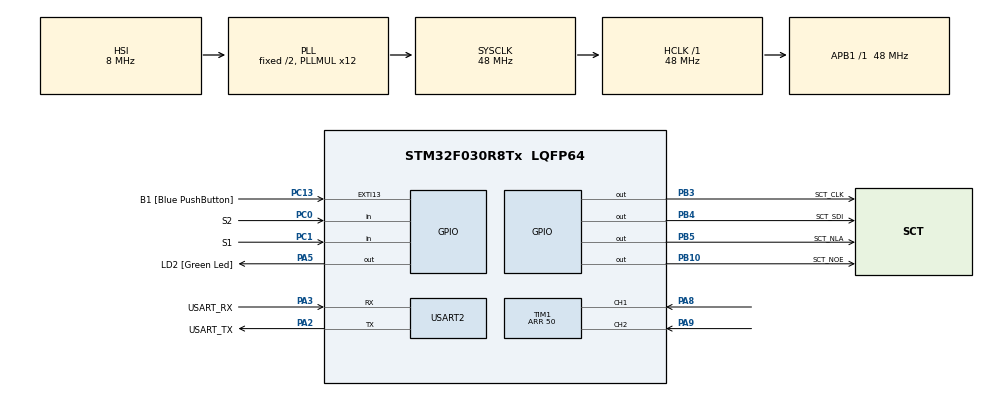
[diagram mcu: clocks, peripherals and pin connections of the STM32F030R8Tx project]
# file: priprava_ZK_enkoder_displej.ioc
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Mcu.Family=STM32F0
Mcu.Name=STM32F030R8Tx
Mcu.Package=LQFP64
PA13.GPIO_Label=TMS
PA13.Mode=Serial_Wire
PA13.Signal=SYS_SWDIO
PA14.GPIO_Label=TCK
PA14.Mode=Serial_Wire
PA14.Signal=SYS_SWCLK
PA2.GPIO_Label=USART_TX
PA2.GPIO_Mode=GPIO_MODE_AF_PP
PA2.GPIO_PuPd=GPIO_NOPULL
PA2.GPIO_Speed=GPIO_SPEED_FREQ_LOW
PA2.Mode=Asynchronous
PA2.Signal=USART2_TX
PA3.GPIO_Label=USART_RX
PA3.GPIO_Mode=GPIO_MODE_AF_PP
PA3.GPIO_PuPd=GPIO_NOPULL
PA3.GPIO_Speed=GPIO_SPEED_FREQ_LOW
PA3.Mode=Asynchronous
PA3.Signal=USART2_RX
PA5.GPIO_Label=LD2 [Green Led]
PA5.GPIO_Mode=GPIO_MODE_OUTPUT_PP
PA5.GPIO_PuPd=GPIO_NOPULL
PA5.GPIO_Speed=GPIO_SPEED_FREQ_LOW
PA5.Signal=GPIO_Output
PA8.Signal=S_TIM1_CH1
PA9.Signal=S_TIM1_CH2
PB10.GPIO_Label=SCT_NOE
PB10.Signal=GPIO_Output
PB3.GPIO_Label=SCT_CLK
PB3.Signal=GPIO_Output
PB4.GPIO_Label=SCT_SDI
PB4.Signal=GPIO_Output
PB5.GPIO_Label=SCT_NLA
PB5.Signal=GPIO_Output
PC0.GPIO_Label=S2
PC0.Signal=GPIO_Input
PC1.GPIO_Label=S1
PC1.Signal=GPIO_Input
PC13.GPIO_Label=B1 [Blue PushButton]
PC13.GPIO_ModeDefaultEXTI=GPIO_MODE_IT_FALLING
PC13.Signal=GPXTI13
PC14-OSC32_IN.Mode=LSE-External-Oscillator
PC14-OSC32_IN.Signal=RCC_OSC32_IN
PC15-OSC32_OUT.Mode=LSE-External-Oscillator
PC15-OSC32_OUT.Signal=RCC_OSC32_OUT
PF0-OSC_IN.Mode=HSE-External-Clock-Source
PF0-OSC_IN.Signal=RCC_OSC_IN
PF1-OSC_OUT.Signal=RCC_OSC_OUT
ProjectManager.HeapSize=0x200
ProjectManager.StackSize=0x400
ProjectManager.TargetToolchain=STM32CubeIDE
RCC.AHBFreq_Value=48000000
RCC.APB1Freq_Value=48000000
RCC.APB1TimFreq_Value=48000000
RCC.HCLKFreq_Value=48000000
RCC.PLLMUL=RCC_PLL_MUL12
RCC.SYSCLKFreq_VALUE=48000000
RCC.SYSCLKSource=RCC_SYSCLKSOURCE_PLLCLK
SH.S_TIM1_CH1.0=TIM1_CH1,Encoder_Interface
SH.S_TIM1_CH2.0=TIM1_CH2,Encoder_Interface
TIM1.IC1Polarity=TIM_ICPOLARITY_FALLING
TIM1.Period=50
USART2.VirtualMode-Asynchronous=VM_ASYNC
board=NUCLEO-F030R8

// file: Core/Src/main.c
/* USER CODE BEGIN Header */
/**
  ******************************************************************************
  * @file           : main.c
  * @brief          : Main program body
  ******************************************************************************
  * @attention
  *
  * <h2><center>&copy; Copyright (c) 2021 STMicroelectronics.
  * All rights reserved.</center></h2>
  *
  * This software component is licensed by ST under BSD 3-Clause license,
  * the "License"; You may not use this file except in compliance with the
  * License. You may obtain a copy of the License at:
  *                        opensource.org/licenses/BSD-3-Clause
  *
  ******************************************************************************
  */
/* USER CODE END Header */
#include "main.h"

/* USER CODE BEGIN Includes */
#include "sct.h"
/* USER CODE END Includes */

/* USER CODE BEGIN PD */
#define BTN_PERIOD 5
/* USER CODE END PD */

TIM_HandleTypeDef htim1;

UART_HandleTypeDef huart2;

void SystemClock_Config(void);
static void MX_GPIO_Init(void);
static void MX_USART2_UART_Init(void);
static void MX_TIM1_Init(void);

int main(void)
{

  /* MCU Configuration--------------------------------------------------------*/

  /* Reset of all peripherals, Initializes the Flash interface and the Systick. */
  HAL_Init();

  /* Configure the system clock */
  SystemClock_Config();

  /* Initialize all configured peripherals */
  MX_GPIO_Init();
  MX_USART2_UART_Init();
  MX_TIM1_Init();
  /* USER CODE BEGIN 2 */
  sct_init();
  HAL_TIM_Encoder_Start(&htim1, htim1.Channel); // spustim TIM1 jako citac v rezimu ncoderu

  //sct_led(0x000F00FF);		// nakresli to nejaky znak na chvilku na displeji a potom to prejde do nekoncecne smycky
  //HAL_Delay(2000);			//short pause

  /* USER CODE END 2 */

  /* Infinite loop */
  while (1)
  {

    /* USER CODE BEGIN 3 */
	  	  static uint32_t lastBTN = 0;
	  	  static uint16_t S1samp = 0xFFFF;
	  	  static uint16_t S2samp = 0xFFFF;
	  	  static uint8_t S1 = 0;
	  	  static uint8_t S2 = 0;
	  	  static uint32_t flag=0;

	  	  if(HAL_GetTick()>lastBTN+BTN_PERIOD){
	  		  lastBTN = HAL_GetTick();
	  		  S1samp = (S1samp<<1)+HAL_GPIO_ReadPin(S1_GPIO_Port, S1_Pin);
	  		  S2samp = (S2samp<<1)+HAL_GPIO_ReadPin(S2_GPIO_Port, S2_Pin);

	  	  if(S1samp == 0x8000) S1 = 1;
	  	  if(S2samp == 0x8000) S2 = 1;
	  	  }

	  if((S2 == 1)&(flag == 0)) {
	  			S2 = 0;
	  			sct_led(0x01000000);
	  			flag=1;
	  			__HAL_TIM_GET_COUNTER(&htim1) = 14;
	  			}
	  if((S1 == 1)&(flag == 1)) {
	 	  		S1 = 0;
	 	  		sct_led(0x00000000);
	 	  		flag=0;
	 	  		__HAL_TIM_GET_COUNTER(&htim1) = 12;
	 	  		}

	  if((S2 == 1)&(flag == 1)) {
	  	  		S2 = 0;
	  	  		sct_led(0x03000000);
	  	  		flag=2;
	  	  		__HAL_TIM_GET_COUNTER(&htim1) = 16;
	  	  		}
	  if((S1 == 1)&(flag == 2)) {
	  	 	  	S1 = 0;
	  	 	  	sct_led(0x01000000);
	  	 	  	flag=1;
	  	 	  	__HAL_TIM_GET_COUNTER(&htim1) = 14;
	  	 	  	}

	  if((S2 == 1)&(flag == 2)) {
	  	  	  	S2 = 0;
	  	  	  	sct_led(0x07000000);
	  	  	  	flag=3;
	  	  	  	__HAL_TIM_GET_COUNTER(&htim1) = 18;
	  	  	  	}
	  if((S1 == 1)&(flag == 3)) {
	  	  	 	  	S1 = 0;
	  	  	 	  	sct_led(0x03000000);
	  	  	 	  	flag=1;
	  	  	 	  	__HAL_TIM_GET_COUNTER(&htim1) = 16;
	  	  	 	  	}

	  if((S2 == 1)&(flag == 3)) {
	  	  	  	S2 = 0;
	  	  	  	sct_led(0x0F000000);
	  	  	  	flag=4;
	  	  	  	__HAL_TIM_GET_COUNTER(&htim1) = 20;
	  	  	  	}
	  if((S2 == 1)&(flag == 4)) {
	  	  	  	S2 = 0;
	  	  	  	sct_led(0x0F800000);
	  	  	  	flag=5;
	  	  	  	__HAL_TIM_GET_COUNTER(&htim1) = 22;
	  	  	  	}
	  if((S2 == 1)&(flag == 5)) {
	  	  	  	S2 = 0;
	  	  	  	sct_led(0x0FC00000);
	  	  	  	flag=6;
	  	  	  	__HAL_TIM_GET_COUNTER(&htim1) = 24;
	  	  	  	}
	  if((S2 == 1)&(flag == 6)) {
	  	  	  	S2 = 0;
	  	  	  	sct_led(0x0FE00000);
	  	  	  	flag=7;
	  	  	  	__HAL_TIM_GET_COUNTER(&htim1) = 26;
	  	  	  	}
	  if((S2 == 1)&(flag == 7)) {
	  	  	  	S2 = 0;
	  	  	  	sct_led(0x0FF00000);
	  	  	  	flag=8;
	  	  	  	__HAL_TIM_GET_COUNTER(&htim1) = 28;
	  	  	  	}

	  if(__HAL_TIM_GET_COUNTER(&htim1) < 13) {
	  		  	  sct_led(0x00000000);
	  		  	  flag=0;
	  	  }
	  if(__HAL_TIM_GET_COUNTER(&htim1) == 14) {
	  	  		  sct_led(0x01000000);
	  	  		  flag=1;
	  	  }
	  if(__HAL_TIM_GET_COUNTER(&htim1) == 16) {
	  	  		  sct_led(0x03000000);
	  	  		  flag=2;
	  	  }
	  if(__HAL_TIM_GET_COUNTER(&htim1) == 18) {
	  	  		  sct_led(0x07000000);
	  	  		  flag=3;
	  	  }
	  if(__HAL_TIM_GET_COUNTER(&htim1) == 20) {
	  	  		  sct_led(0x0F000000);
	  	  		  flag=4;
	  	  }
	  if(__HAL_TIM_GET_COUNTER(&htim1) == 22) {
	  	  		  sct_led(0x0F800000);
	  	  		  flag=5;
	  	  }
	  if(__HAL_TIM_GET_COUNTER(&htim1) == 24) {
	  	  	  	  sct_led(0x0FC00000);
	  	  	  	  flag=6;
	  	  }
	  if(__HAL_TIM_GET_COUNTER(&htim1) == 26) {
	  	  	  	  sct_led(0x0FE00000);
	  	  	  	  flag=7;
	  	  }
	  if(__HAL_TIM_GET_COUNTER(&htim1) > 27) {
	  	  		  sct_led(0x0FF00000);
	  	  		  flag=8;
	  	  }
	  HAL_Delay(50);
  }

  /* USER CODE END 3 */
}

void SystemClock_Config(void)
{
  RCC_OscInitTypeDef RCC_OscInitStruct = {0};
  RCC_ClkInitTypeDef RCC_ClkInitStruct = {0};

  /** Initializes the RCC Oscillators according to the specified parameters
  * in the RCC_OscInitTypeDef structure.
  */
  RCC_OscInitStruct.OscillatorType = RCC_OSCILLATORTYPE_HSI;
  RCC_OscInitStruct.HSIState = RCC_HSI_ON;
  RCC_OscInitStruct.HSICalibrationValue = RCC_HSICALIBRATION_DEFAULT;
  RCC_OscInitStruct.PLL.PLLState = RCC_PLL_ON;
  RCC_OscInitStruct.PLL.PLLSource = RCC_PLLSOURCE_HSI;
  RCC_OscInitStruct.PLL.PLLMUL = RCC_PLL_MUL12;
  RCC_OscInitStruct.PLL.PREDIV = RCC_PREDIV_DIV1;
  if (HAL_RCC_OscConfig(&RCC_OscInitStruct) != HAL_OK)
  {
    Error_Handler();
  }
  /** Initializes the CPU, AHB and APB buses clocks
  */
  RCC_ClkInitStruct.ClockType = RCC_CLOCKTYPE_HCLK|RCC_CLOCKTYPE_SYSCLK
                              |RCC_CLOCKTYPE_PCLK1;
  RCC_ClkInitStruct.SYSCLKSource = RCC_SYSCLKSOURCE_PLLCLK;
  RCC_ClkInitStruct.AHBCLKDivider = RCC_SYSCLK_DIV1;
  RCC_ClkInitStruct.APB1CLKDivider = RCC_HCLK_DIV1;

  if (HAL_RCC_ClockConfig(&RCC_ClkInitStruct, FLASH_LATENCY_1) != HAL_OK)
  {
    Error_Handler();
  }
}

static void MX_TIM1_Init(void)
{

  TIM_Encoder_InitTypeDef sConfig = {0};
  TIM_MasterConfigTypeDef sMasterConfig = {0};

  htim1.Instance = TIM1;
  htim1.Init.Prescaler = 0;
  htim1.Init.CounterMode = TIM_COUNTERMODE_UP;
  htim1.Init.Period = 50;
  htim1.Init.ClockDivision = TIM_CLOCKDIVISION_DIV1;
  htim1.Init.RepetitionCounter = 0;
  htim1.Init.AutoReloadPreload = TIM_AUTORELOAD_PRELOAD_DISABLE;
  sConfig.EncoderMode = TIM_ENCODERMODE_TI1;
  sConfig.IC1Polarity = TIM_ICPOLARITY_FALLING;
  sConfig.IC1Selection = TIM_ICSELECTION_DIRECTTI;
  sConfig.IC1Prescaler = TIM_ICPSC_DIV1;
  sConfig.IC1Filter = 0;
  sConfig.IC2Polarity = TIM_ICPOLARITY_RISING;
  sConfig.IC2Selection = TIM_ICSELECTION_DIRECTTI;
  sConfig.IC2Prescaler = TIM_ICPSC_DIV1;
  sConfig.IC2Filter = 0;
  if (HAL_TIM_Encoder_Init(&htim1, &sConfig) != HAL_OK)
  {
    Error_Handler();
  }
  sMasterConfig.MasterOutputTrigger = TIM_TRGO_RESET;
  sMasterConfig.MasterSlaveMode = TIM_MASTERSLAVEMODE_DISABLE;
  if (HAL_TIMEx_MasterConfigSynchronization(&htim1, &sMasterConfig) != HAL_OK)
  {
    Error_Handler();
  }

}

static void MX_USART2_UART_Init(void)
{

  huart2.Instance = USART2;
  huart2.Init.BaudRate = 38400;
  huart2.Init.WordLength = UART_WORDLENGTH_8B;
  huart2.Init.StopBits = UART_STOPBITS_1;
  huart2.Init.Parity = UART_PARITY_NONE;
  huart2.Init.Mode = UART_MODE_TX_RX;
  huart2.Init.HwFlowCtl = UART_HWCONTROL_NONE;
  huart2.Init.OverSampling = UART_OVERSAMPLING_16;
  huart2.Init.OneBitSampling = UART_ONE_BIT_SAMPLE_DISABLE;
  huart2.AdvancedInit.AdvFeatureInit = UART_ADVFEATURE_NO_INIT;
  if (HAL_UART_Init(&huart2) != HAL_OK)
  {
    Error_Handler();
  }

}

static void MX_GPIO_Init(void)
{
  GPIO_InitTypeDef GPIO_InitStruct = {0};

  /* GPIO Ports Clock Enable */
  __HAL_RCC_GPIOC_CLK_ENABLE();
  __HAL_RCC_GPIOF_CLK_ENABLE();
  __HAL_RCC_GPIOA_CLK_ENABLE();
  __HAL_RCC_GPIOB_CLK_ENABLE();

  /*Configure GPIO pin Output Level */
  HAL_GPIO_WritePin(LD2_GPIO_Port, LD2_Pin, GPIO_PIN_RESET);

  /*Configure GPIO pin Output Level */
  HAL_GPIO_WritePin(GPIOB, SCT_NOE_Pin|SCT_CLK_Pin|SCT_SDI_Pin|SCT_NLA_Pin, GPIO_PIN_RESET);

  /*Configure GPIO pin : B1_Pin */
  GPIO_InitStruct.Pin = B1_Pin;
  GPIO_InitStruct.Mode = GPIO_MODE_IT_FALLING;
  GPIO_InitStruct.Pull = GPIO_NOPULL;
  HAL_GPIO_Init(B1_GPIO_Port, &GPIO_InitStruct);

  /*Configure GPIO pins : S2_Pin S1_Pin */
  GPIO_InitStruct.Pin = S2_Pin|S1_Pin;
  GPIO_InitStruct.Mode = GPIO_MODE_INPUT;
  GPIO_InitStruct.Pull = GPIO_NOPULL;
  HAL_GPIO_Init(GPIOC, &GPIO_InitStruct);

  /*Configure GPIO pin : LD2_Pin */
  GPIO_InitStruct.Pin = LD2_Pin;
  GPIO_InitStruct.Mode = GPIO_MODE_OUTPUT_PP;
  GPIO_InitStruct.Pull = GPIO_NOPULL;
  GPIO_InitStruct.Speed = GPIO_SPEED_FREQ_LOW;
  HAL_GPIO_Init(LD2_GPIO_Port, &GPIO_InitStruct);

  /*Configure GPIO pins : SCT_NOE_Pin SCT_CLK_Pin SCT_SDI_Pin SCT_NLA_Pin */
  GPIO_InitStruct.Pin = SCT_NOE_Pin|SCT_CLK_Pin|SCT_SDI_Pin|SCT_NLA_Pin;
  GPIO_InitStruct.Mode = GPIO_MODE_OUTPUT_PP;
  GPIO_InitStruct.Pull = GPIO_NOPULL;
  GPIO_InitStruct.Speed = GPIO_SPEED_FREQ_LOW;
  HAL_GPIO_Init(GPIOB, &GPIO_InitStruct);

}

void Error_Handler(void)
{
}

/************************ (C) COPYRIGHT STMicroelectronics *****END OF FILE****/
